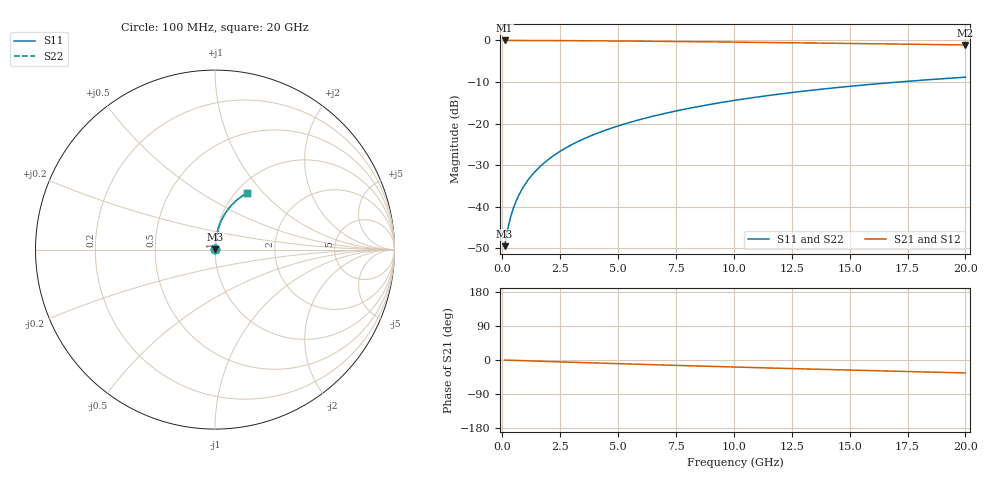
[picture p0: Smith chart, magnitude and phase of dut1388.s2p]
! Touchstone file exported from HFSS 2024.1.0
!  File:  C:/UserFiles/LocalFiles/RDL_TSV_Batchsim/temp_RDL_bottom_1388_1780371918.aedt
!  Generated:  11:48:16 AM Jun  2, 2026
!  Design:  RDL_bottom
!  Project:  temp_RDL_bottom_1388_1780371918
!  Setup:  Setup1
!  Solution:  Sweep
! Variables:
!  dtsv = 10.80580581um
!  hbump = 3um
!  htsv = 79.15um
!  ldown = 444.23um
!  lrdl = 100um
!  p = 40
!  p1 = 49.73um
!  rhole = 1um
!  t = 450um
!  tdown = 3.46um
!  trdl = 3.915915916um
!  wdown = 17.8um
!  wrdl = 20um
# GHz S MA R 50.000000
! Terminal data exported
! Port[1] = RDL1_T1
! Port[2] = RDL1_T2
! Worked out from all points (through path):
!   200 points, 100 MHz to 20 GHz, reference 50 ohm
!   highest |S21| = -0.02 dB at 100 MHz (marker M1); lowest = -1.1 dB at 20 GHz (marker M2)
!   group delay of S21, straight-line fit = 4.72 ps
!   lowest |S11| = -49.5 dB at 100 MHz (marker M3), VSWR 1.01, Z = 50.3 + j0.198 ohm
!   |S11| at or under -10 dB: start of sweep to 17.14 GHz
!   |S22| runs from -49.5 to -8.9 dB; largest |S21 - S12| = 3.5e-15
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0.1  0.003361 35.9  0.9973 -0.2  0.9973 -0.2  0.003361 35.9
! Gamma 0 0 0 0
! Port Impedance 50 0 50 0
0.2  0.004812 54.3  0.9972 -0.4  0.9972 -0.4  0.004812 54.3
0.3  0.00649 63.3  0.9971 -0.6  0.9971 -0.6  0.00649 63.3
0.4  0.008228 68.4  0.9969 -0.8  0.9969 -0.8  0.008228 68.4
0.5  0.009988 71.8  0.9968 -1.0  0.9968 -1.0  0.009988 71.8
0.6  0.01176 74.1  0.9967 -1.2  0.9967 -1.2  0.01176 74.1
0.8  0.01533 77.3  0.9964 -1.6  0.9964 -1.6  0.01533 77.3
1.1  0.02074 79.9  0.996 -2.2  0.996 -2.2  0.02074 79.9
1.5  0.02803 81.8  0.9953 -3.0  0.9953 -3.0  0.02803 81.8
1.8  0.03353 82.5  0.9947 -3.6  0.9947 -3.6  0.03354 82.5
2.1  0.03907 83.0  0.994 -4.2  0.994 -4.2  0.03907 83.0
2.7  0.0502 83.4  0.9923 -5.3  0.9923 -5.3  0.0502 83.4
3.5  0.06518 83.3  0.9895 -6.9  0.9895 -6.9  0.06518 83.3
4.2  0.07839 82.9  0.9867 -8.2  0.9867 -8.2  0.0784 82.9
5  0.09361 82.3  0.9829 -9.7  0.9829 -9.7  0.09361 82.3
5.9  0.1108 81.4  0.9782 -11.4  0.9782 -11.4  0.1108 81.4
6.8  0.1281 80.3  0.9732 -13.0  0.9732 -13.0  0.1281 80.3
8.4  0.1589 78.2  0.9634 -15.8  0.9634 -15.8  0.1589 78.2
10.1  0.1913 75.7  0.9523 -18.7  0.9523 -18.7  0.1913 75.7
13.4  0.2521 70.6  0.9294 -24.1  0.9294 -24.1  0.2522 70.6
16.7  0.309 65.5  0.9053 -29.2  0.9053 -29.2  0.309 65.5
20  0.3609 60.5  0.8805 -34.1  0.8805 -34.1  0.3609 60.5
